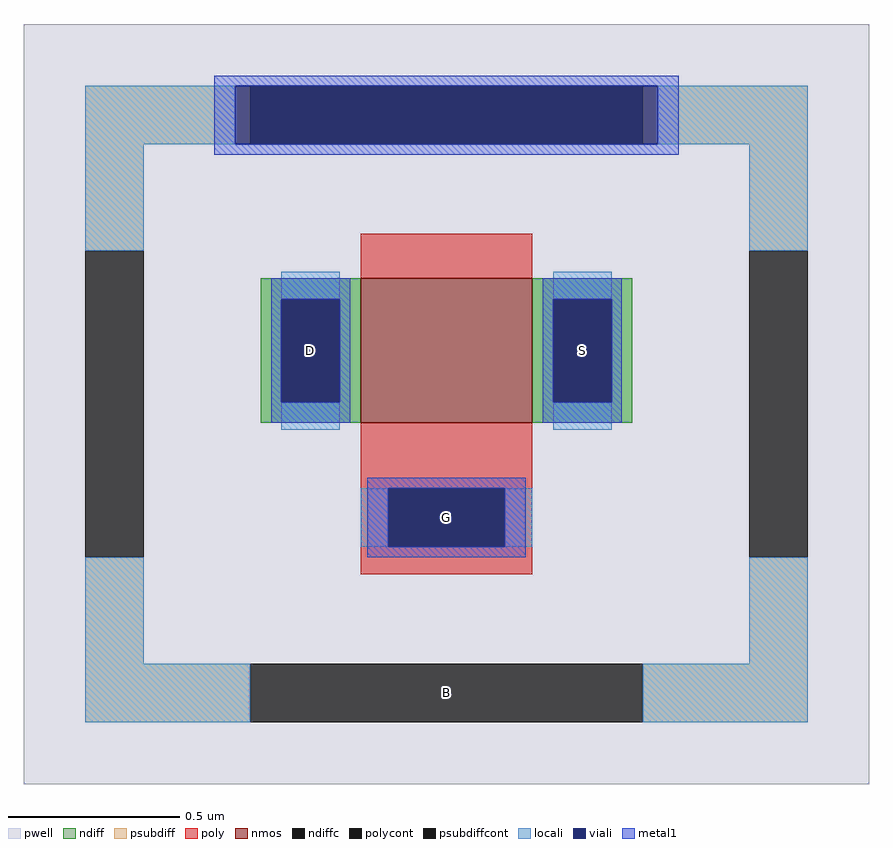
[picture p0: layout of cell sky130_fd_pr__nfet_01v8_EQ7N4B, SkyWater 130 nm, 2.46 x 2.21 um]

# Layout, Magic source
magic
tech sky130A
magscale 1 2
<< pwell >>
rect -246 -221 246 221
<< nmos >>
rect -50 -11 50 73
<< ndiff >>
rect -108 61 -50 73
rect -108 1 -96 61
rect -62 1 -50 61
rect -108 -11 -50 1
rect 50 61 108 73
rect 50 1 62 61
rect 96 1 108 61
rect 50 -11 108 1
<< ndiffc >>
rect -96 1 -62 61
rect 62 1 96 61
<< psubdiff >>
rect -210 151 -114 185
rect 114 151 210 185
rect -210 89 -176 151
rect 176 89 210 151
rect -210 -151 -176 -89
rect 176 -151 210 -89
rect -210 -185 -114 -151
rect 114 -185 210 -151
<< psubdiffcont >>
rect -114 151 114 185
rect -210 -89 -176 89
rect 176 -89 210 89
rect -114 -185 114 -151
<< poly >>
rect -50 73 50 99
rect -50 -49 50 -11
rect -50 -83 -34 -49
rect 34 -83 50 -49
rect -50 -99 50 -83
<< polycont >>
rect -34 -83 34 -49
<< locali >>
rect -210 151 -123 185
rect 123 151 210 185
rect -210 89 -176 151
rect 176 89 210 151
rect -96 61 -62 77
rect -96 -15 -62 1
rect 62 61 96 77
rect 62 -15 96 1
rect -50 -83 -34 -49
rect 34 -83 50 -49
rect -210 -151 -176 -89
rect 176 -151 210 -89
rect -210 -185 -114 -151
rect 114 -185 210 -151
<< viali >>
rect -123 151 -114 185
rect -114 151 114 185
rect 114 151 123 185
rect -96 1 -62 61
rect 62 1 96 61
rect -34 -83 34 -49
<< metal1 >>
rect -135 185 135 191
rect -135 151 -123 185
rect 123 151 135 185
rect -135 145 135 151
rect -102 61 -56 73
rect -102 1 -96 61
rect -62 1 -56 61
rect -102 -11 -56 1
rect 56 61 102 73
rect 56 1 62 61
rect 96 1 102 61
rect 56 -11 102 1
rect -46 -49 46 -43
rect -46 -83 -34 -49
rect 34 -83 46 -49
rect -46 -89 46 -83
<< labels >>
rlabel psubdiffcont 0 -168 0 -168 0 B
port 1 nsew
rlabel ndiffc -79 31 -79 31 0 D
port 2 nsew
rlabel ndiffc 79 31 79 31 0 S
port 3 nsew
rlabel polycont 0 -66 0 -66 0 G
port 4 nsew
<< properties >>
string FIXED_BBOX -193 -168 193 168
string gencell sky130_fd_pr__nfet_01v8
string library sky130
string parameters w 0.42 l 0.5 m 1 nf 1 diffcov 100 polycov 100 guard 1 glc 1 grc 1 gtc 1 gbc 1 tbcov 100 rlcov 100 topc 0 botc 1 poverlap 0 doverlap 1 lmin 0.15 wmin 0.42 class mosfet compatible {sky130_fd_pr__nfet_01v8 sky130_fd_pr__nfet_01v8_lvt  sky130_fd_bs_flash__special_sonosfet_star  sky130_fd_pr__nfet_g5v0d10v5 sky130_fd_pr__nfet_05v0_nvt  sky130_fd_pr__nfet_03v3_nvt} full_metal 1 conn_gates 0 viasrc 100 viadrn 100 viagate 100 viagb 0 viagr 0 viagl 0 viagt 70 doports 1
<< end >>
